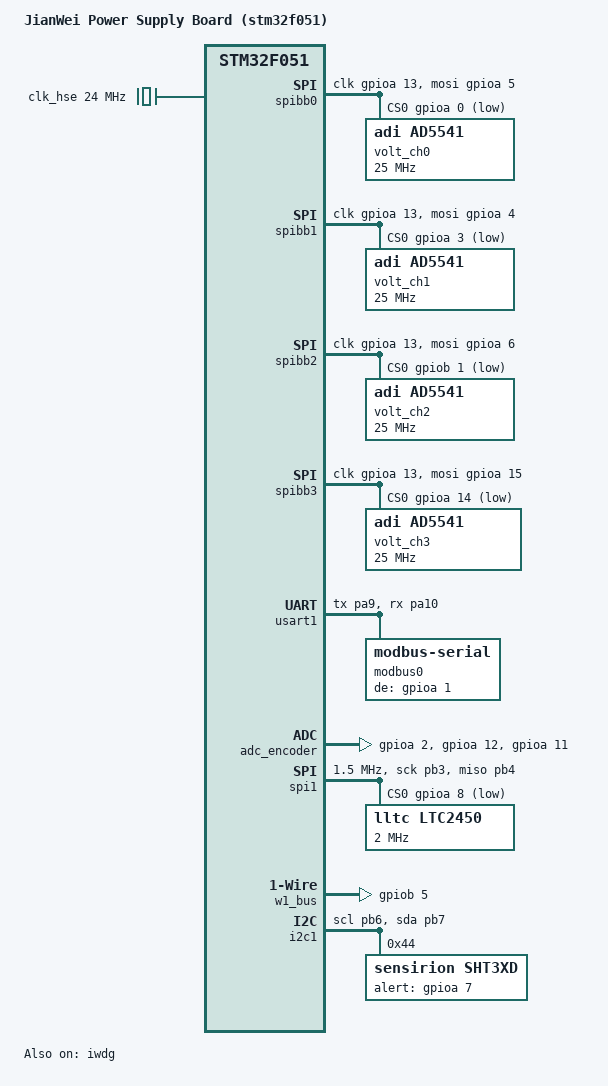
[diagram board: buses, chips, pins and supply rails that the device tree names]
/dts-v1/;

#include <st/f0/stm32f051X8.dtsi>
#include <st/f0/stm32f051k8tx-pinctrl.dtsi>
#include "jw_pwb_common.dtsi"

/ {
	model = "JianWei Power Supply Board (stm32f051)";
	compatible = "jw,pwb-stm32f051";

	chosen {
		zephyr,sram = &sram0;
		zephyr,flash = &flash0;
		zephyr,code-partition = &code_partition;
	};

	aliases {
		watchdog0 = &iwdg;
	};
};

/* clocks: max cpu frq is 48MHz */

&clk_lsi {
	status = "okay";
};

&clk_hse {
	clock-frequency = <DT_FREQ_M(24)>;
	status = "okay";
};

&pll {
	prediv = <1>;
	mul = <2>;
	clocks = <&clk_hse>;
	status = "okay";
};

&rcc {
	clocks = <&pll>;
	clock-frequency = <DT_FREQ_M(48)>;
	ahb-prescaler = <1>;
	apb1-prescaler = <1>;
};

/* flash */
&flash0 {
	partitions {
		compatible = "fixed-partitions";
		#address-cells = <1>;
		#size-cells = <1>;

		code_partition: partition@0 {
			label = "code-partition";
			reg = <0x00000000 DT_SIZE_K(64)>;
			read-only;
		};
	};
};

/* watchdog */
&iwdg {
	status = "okay";
};

/* due to limited available memory, don't enable gpiod and gpiof */
&gpiod {status = "disabled";};
&gpiof {status = "disabled";};


/* communication: */

/* - uart for modbus (note: the same port is used to programmming by jumper selection) */
&usart1 {
	pinctrl-0 = <&usart1_tx_pa9 &usart1_rx_pa10>;
	pinctrl-names = "default";
	status = "okay";

	modbus0 {
		compatible = "zephyr,modbus-serial";
		status = "okay";

		de-gpios = <&gpioa 1 GPIO_ACTIVE_HIGH>;
	};
};

/* peripherals: */

/* - ch encoder for adc measurmeant */
&adc_encoder {
  gpios = <&gpioa 2  (GPIO_PULL_DOWN | GPIO_ACTIVE_HIGH)>,
          <&gpioa 12 (GPIO_PULL_DOWN | GPIO_ACTIVE_HIGH)>,
          <&gpioa 11 (GPIO_PULL_DOWN | GPIO_ACTIVE_HIGH)>;
  status = "okay";
};

/* - adc for V/I measuremet */
&spi1 {
	pinctrl-0 = <&spi1_sck_pb3 &spi1_miso_pb4>;
	pinctrl-names = "default";
	clock-frequency = <1500000>; // limit it to 1.5 MHz (24 MHz/16)
  status = "okay";

  cs-gpios = <&gpioa 8 GPIO_ACTIVE_LOW>; 
  ltc2450@0 {
    compatible = "lltc,ltc2450";
    reg = <0>;
    status = "okay";

		spi-max-frequency = <2000000>; // max: 2 MHz
    duplex = <2048>; // half-duplex
  };
};

/* - dac for V set (spi-bitbang) */
/{
	spibb0: spibb0 {
		compatible = "zephyr,spi-bitbang";
		status = "okay";
		#address-cells = <1>;
		#size-cells = <0>;

		clk-gpios = <&gpioa 13 GPIO_ACTIVE_HIGH>;
		mosi-gpios = <&gpioa 5 GPIO_ACTIVE_HIGH>;
		cs-gpios = <&gpioa 0 GPIO_ACTIVE_LOW>;

    volt_ch0: dac0@0{
      compatible = "adi,ad5541";
      status = "okay";
		  reg = <0x0>;

			spi-max-frequency = <25000000>; // max: 25 MHz
      duplex = <2048>; // half-duplex
    };
	};

	spibb1: spibb1 {
		compatible = "zephyr,spi-bitbang";
		status = "okay";
		#address-cells = <1>;
		#size-cells = <0>;

		clk-gpios = <&gpioa 13 GPIO_ACTIVE_HIGH>;
		mosi-gpios = <&gpioa 4 GPIO_ACTIVE_HIGH>;
		cs-gpios = <&gpioa 3 GPIO_ACTIVE_LOW>;

    volt_ch1: dac1@0{
      compatible = "adi,ad5541";
      status = "okay";
		  reg = <0x0>;

			spi-max-frequency = <25000000>; // max: 25 MHz
      duplex = <2048>; // half-duplex
    };
	};

	spibb2: spibb2 {
		compatible = "zephyr,spi-bitbang";
		status = "okay";
		#address-cells = <1>;
		#size-cells = <0>;

		clk-gpios = <&gpioa 13 GPIO_ACTIVE_HIGH>;
		mosi-gpios = <&gpioa 6 GPIO_ACTIVE_HIGH>;
		cs-gpios = <&gpiob 1 GPIO_ACTIVE_LOW>;

    volt_ch2: dac2@0{
      compatible = "adi,ad5541";
      status = "okay";
		  reg = <0x0>;

			spi-max-frequency = <25000000>; // max: 25 MHz
      duplex = <2048>; // half-duplex
    };
	};

	spibb3: spibb3 {
		compatible = "zephyr,spi-bitbang";
		status = "okay";
		#address-cells = <1>;
		#size-cells = <0>;

		clk-gpios = <&gpioa 13 GPIO_ACTIVE_HIGH>;
		mosi-gpios = <&gpioa 15 GPIO_ACTIVE_HIGH>;
		cs-gpios = <&gpioa 14 GPIO_ACTIVE_LOW>;

    volt_ch3: dac3@0{
      compatible = "adi,ad5541";
      status = "okay";
		  reg = <0x0>;

			spi-max-frequency = <25000000>; // max: 25 MHz
      duplex = <2048>; // half-duplex
    };
	};
};

/* - w1 for uuid */
&w1_bus {
  gpios = <&gpiob 5 (GPIO_ACTIVE_HIGH | GPIO_OPEN_DRAIN | GPIO_PULL_UP)>;
  status = "okay";
};

/* - sensor for temperature */
&i2c1 {
	pinctrl-0 = <&i2c1_scl_pb6 &i2c1_sda_pb7>;
	pinctrl-names = "default";
	status = "okay";

	sht3xd@44 {
		compatible = "sensirion,sht3xd";
		reg= <0x44>;
    status = "okay";

		alert-gpios = <&gpioa 7 GPIO_ACTIVE_HIGH>;
	};
};
